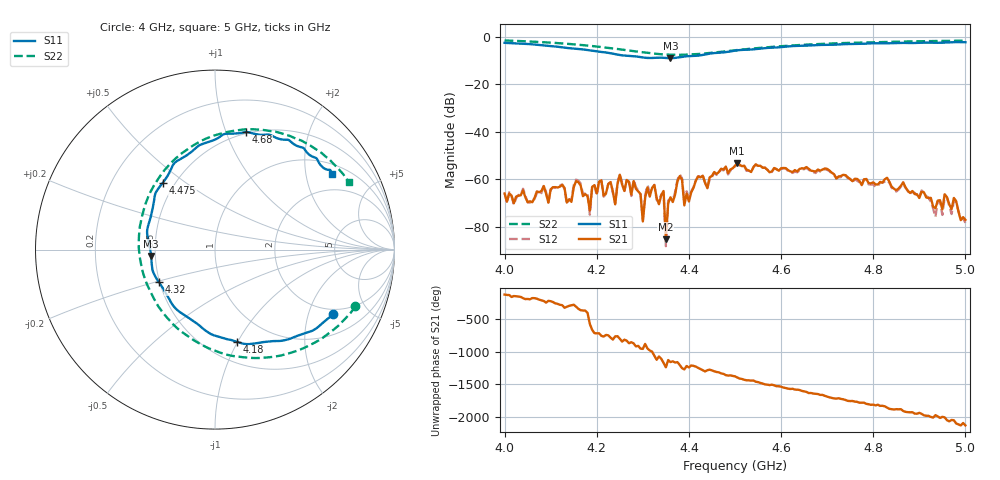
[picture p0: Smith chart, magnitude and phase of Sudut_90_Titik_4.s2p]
# Hz S RI R 50
! CMT, C1220, 16058040, 17.2.0/1
! Date: 15/08/2018 12:28:19
! Data: Format (Calibration Info)
! Freq  S11: Re/Im (F2)  S21: Re/Im (F2)  S12: Re/Im (F2)  S22: Re/Im (F2)
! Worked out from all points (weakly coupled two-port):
!   201 points, 4 GHz to 5 GHz, reference 50 ohm
!   highest |S21| = -53.18 dB at 4.505 GHz (marker M1); lowest = -85.2 dB at 4.35 GHz (marker M2)
!   lowest |S11| = -8.9 dB at 4.36 GHz (marker M3), VSWR 2.11, Z = 23.7 - j1.93 ohm
!   |S11| at or under -10 dB: nowhere
!   |S22| runs from -7.5 to -1.5 dB; largest |S21 - S12| = 0.00013
!   S11 on the Smith chart (normalised r, x): 4 GHz: 1.76, -2.93; 4.18 GHz: 0.70, -1.00; 4.32 GHz: 0.49, -0.21; 4.475 GHz: 0.43, +0.41; 4.68 GHz: 0.49, +1.17; 5 GHz: 1.34, +2.82
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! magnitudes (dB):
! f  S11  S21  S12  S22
! 4 GHz  -2.5  -65.9  -65.7  -1.5
! 4.17 GHz  -5.2  -67.0  -66.2  -3.4
! 4.18 GHz  -5.5  -67.1  -65.5  -3.6
! 4.185 GHz  -5.7  -73.1  -74.9  -3.7
! 4.19 GHz  -5.8  -63.1  -63.5  -3.8
! 4.21 GHz  -6.3  -60.4  -60.7  -4.3
! 4.24 GHz  -7.2  -70.5  -70.1  -5.0
! 4.25 GHz  -7.6  -58.0  -57.5  -5.2
! 4.295 GHz  -8.5  -66.1  -66.4  -6.3
! 4.3 GHz  -8.6  -77.7  -77.0  -6.5
! 4.32 GHz  -8.8  -63.6  -63.8  -6.9
! 4.335 GHz  -8.7  -70.4  -69.3  -7.2
! 4.345 GHz  -8.8  -64.9  -65.8  -7.4
! 4.35 GHz  -8.8  -85.2  -88.1  -7.4
! 4.36 GHz  -8.9  -67.5  -68.1  -7.5
! 4.475 GHz  -6.5  -55.8  -56.2  -6.1
! 4.5 GHz  -5.8  -54.2  -54.4  -5.6
! 4.505 GHz  -5.6  -53.2  -53.4  -5.5
! 4.67 GHz  -3.5  -56.5  -57.0  -3.1
! 4.68 GHz  -3.4  -55.8  -56.1  -3.0
! 4.835 GHz  -2.6  -61.0  -61.4  -2.1
! 5 GHz  -2.2  -77.0  -78.3  -1.6
